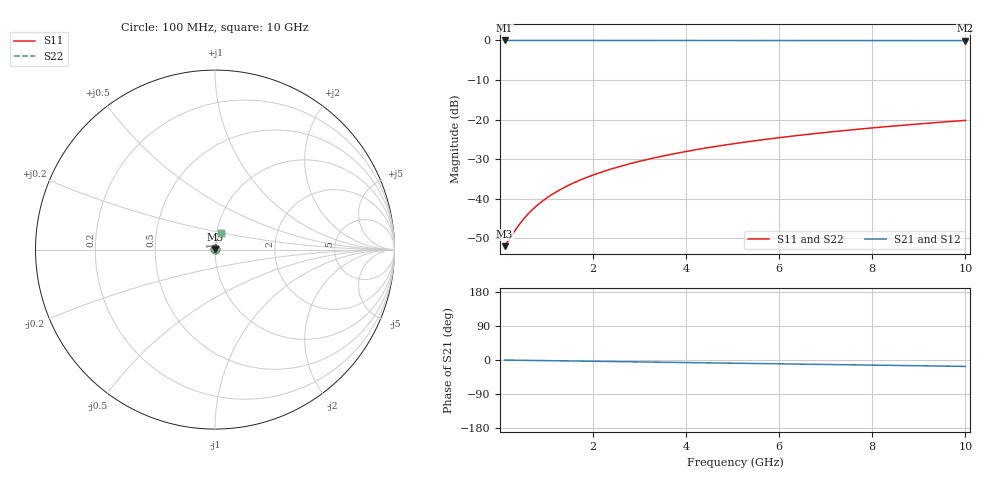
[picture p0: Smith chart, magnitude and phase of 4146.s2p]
# Hz S RI R 50.00
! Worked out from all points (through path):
!   100 points, 100 MHz to 10 GHz, reference 50 ohm
!   highest |S21| = -0.02 dB at 100 MHz (marker M1); lowest = -0.1 dB at 10 GHz (marker M2)
!   group delay of S21, straight-line fit = 4.69 ps
!   lowest |S11| = -52.0 dB at 100 MHz (marker M3), VSWR 1.01, Z = 50.2 + j0.0984 ohm
!   |S11| at or under -10 dB: start of sweep to end of sweep
!   |S22| runs from -52.0 to -20.2 dB; largest |S21 - S12| = 0
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1e8  0.00231 0.00098  0.9977 -0.00293  0.9977 -0.00293  0.00231 0.00098
2e8  0.00233 0.00196  0.9977 -0.00586  0.9977 -0.00586  0.00233 0.00196
3e8  0.00236 0.00294  0.9976 -0.00879  0.9976 -0.00879  0.00236 0.00294
4e8  0.00239 0.00392  0.9976 -0.0117  0.9976 -0.0117  0.00239 0.00392
5e8  0.00242 0.0049  0.9975 -0.0147  0.9975 -0.0147  0.00242 0.0049
6e8  0.00246 0.00588  0.9975 -0.0176  0.9975 -0.0176  0.00246 0.00588
7e8  0.0025 0.00685  0.9974 -0.0205  0.9974 -0.0205  0.0025 0.00685
8e8  0.00255 0.00783  0.9973 -0.0234  0.9973 -0.0234  0.00255 0.00783
1e9  0.00266 0.00979  0.9971 -0.0293  0.9971 -0.0293  0.00266 0.00979
1.2e9  0.00279 0.0117  0.9969 -0.0352  0.9969 -0.0352  0.00279 0.0117
1.5e9  0.00304 0.0147  0.9965 -0.0439  0.9965 -0.0439  0.00304 0.0147
1.8e9  0.00333 0.0176  0.996 -0.0527  0.996 -0.0527  0.00333 0.0176
2.1e9  0.00367 0.0205  0.9954 -0.0615  0.9954 -0.0615  0.00367 0.0205
2.5e9  0.00421 0.0244  0.9945 -0.0732  0.9945 -0.0732  0.00421 0.0244
2.9e9  0.00484 0.0283  0.9935 -0.0849  0.9935 -0.0849  0.00484 0.0283
3.4e9  0.00575 0.0331  0.992 -0.0995  0.992 -0.0995  0.00575 0.0331
4.2e9  0.00751 0.0407  0.989 -0.1228  0.989 -0.1228  0.00751 0.0407
5.1e9  0.00991 0.0492  0.985 -0.1489  0.985 -0.1489  0.00991 0.0492
5.9e9  0.0124 0.0566  0.9808 -0.172  0.9808 -0.172  0.0124 0.0566
6.7e9  0.0153 0.0639  0.976 -0.195  0.976 -0.195  0.0153 0.0639
8.4e9  0.0225 0.079  0.9637 -0.2434  0.9637 -0.2434  0.0225 0.079
1e10  0.0307 0.0925  0.9498 -0.2882  0.9498 -0.2882  0.0307 0.0925
